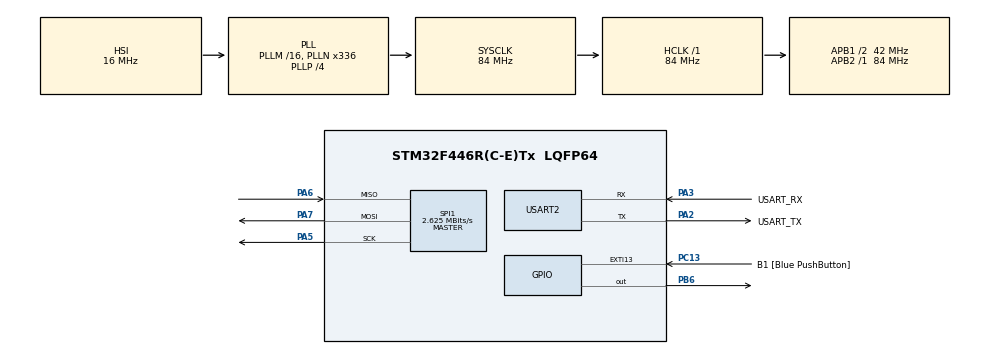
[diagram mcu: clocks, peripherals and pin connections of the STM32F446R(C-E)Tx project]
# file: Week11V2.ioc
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Mcu.Family=STM32F4
Mcu.Name=STM32F446R(C-E)Tx
Mcu.Package=LQFP64
NVIC.PriorityGroup=NVIC_PRIORITYGROUP_0
PA13.GPIO_Label=TMS
PA13.Mode=Serial_Wire
PA13.Signal=SYS_JTMS-SWDIO
PA14.GPIO_Label=TCK
PA14.Mode=Serial_Wire
PA14.Signal=SYS_JTCK-SWCLK
PA2.GPIO_Label=USART_TX
PA2.Mode=Asynchronous
PA2.Signal=USART2_TX
PA3.GPIO_Label=USART_RX
PA3.Mode=Asynchronous
PA3.Signal=USART2_RX
PA5.Mode=Full_Duplex_Master
PA5.Signal=SPI1_SCK
PA6.Mode=Full_Duplex_Master
PA6.Signal=SPI1_MISO
PA7.Mode=Full_Duplex_Master
PA7.Signal=SPI1_MOSI
PB3.GPIO_Label=SWO
PB3.Signal=SYS_JTDO-SWO
PB6.Signal=GPIO_Output
PC13.GPIO_Label=B1 [Blue PushButton]
PC13.GPIO_ModeDefaultEXTI=GPIO_MODE_IT_FALLING
PC13.Signal=GPXTI13
PC14-OSC32_IN.Mode=LSE-External-Oscillator
PC14-OSC32_IN.Signal=RCC_OSC32_IN
PC15-OSC32_OUT.Mode=LSE-External-Oscillator
PC15-OSC32_OUT.Signal=RCC_OSC32_OUT
PH0-OSC_IN.Mode=HSE-External-Oscillator
PH0-OSC_IN.Signal=RCC_OSC_IN
PH1-OSC_OUT.Mode=HSE-External-Oscillator
PH1-OSC_OUT.Signal=RCC_OSC_OUT
ProjectManager.HeapSize=0x200
ProjectManager.StackSize=0x400
ProjectManager.TargetToolchain=STM32CubeIDE
RCC.48MHZClocksFreq_Value=84000000
RCC.AHBFreq_Value=84000000
RCC.APB1CLKDivider=RCC_HCLK_DIV2
RCC.APB1Freq_Value=42000000
RCC.APB1TimFreq_Value=84000000
RCC.APB2Freq_Value=84000000
RCC.APB2TimFreq_Value=84000000
RCC.CortexFreq_Value=84000000
RCC.FLatency-AdvancedSettings=FLASH_LATENCY_2
RCC.HCLKFreq_Value=84000000
RCC.HSE_VALUE=8000000
RCC.HSI_VALUE=16000000
RCC.PLLN=336
RCC.PLLP=RCC_PLLP_DIV4
RCC.SYSCLKFreq_VALUE=84000000
RCC.SYSCLKSource=RCC_SYSCLKSOURCE_PLLCLK
RCC.USBFreq_Value=168000000
RCC.VCOOutputFreq_Value=336000000
SPI1.BaudRatePrescaler=SPI_BAUDRATEPRESCALER_32
SPI1.CalculateBaudRate=2.625 MBits/s
SPI1.Direction=SPI_DIRECTION_2LINES
SPI1.Mode=SPI_MODE_MASTER
SPI1.VirtualType=VM_MASTER
TIM2.AutoReloadPreload=TIM_AUTORELOAD_PRELOAD_DISABLE
TIM2.Prescaler=32
USART2.VirtualMode=VM_ASYNC
VP_TIM2_VS_ClockSourceINT.Mode=Internal
board=NUCLEO-F446RE

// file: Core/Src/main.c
/* USER CODE BEGIN Header */
/**
  ******************************************************************************
  * @file           : main.c
  * @brief          : Main program body
  ******************************************************************************
  * @attention
  *
  * Copyright (c) 2023 STMicroelectronics.
  * All rights reserved.
  *
  * This software is licensed under terms that can be found in the LICENSE file
  * in the root directory of this software component.
  * If no LICENSE file comes with this software, it is provided AS-IS.
  *
  ******************************************************************************
  */
/* USER CODE END Header */
#include "main.h"
#include "stdio.h"

SPI_HandleTypeDef hspi1;

TIM_HandleTypeDef htim2;

UART_HandleTypeDef huart2;

void SystemClock_Config(void);
static void MX_GPIO_Init(void);
static void MX_USART2_UART_Init(void);
static void MX_SPI1_Init(void);
static void MX_TIM2_Init(void);

/* USER CODE BEGIN 0 */

  //Variables
  char uart_buf[50];
  int uart_buf_len;
  char spi_buf[20];
  uint8_t addr;
  uint8_t wip;

  //25AA010A instructions, note: these are variables
  const uint8_t EEPROM_READ = 0b00000011;   // 0x03
  const uint8_t EEPROM_WRITE = 0b00000010;  // 0x02
  const uint8_t EEPROM_WRDI = 0b00000100;   // 0x04
  const uint8_t EEPROM_WREN = 0b00000110;   // 0x06
  const uint8_t EEPROM_RDSR = 0b00000101;   // 0x05
  const uint8_t EEPROM_WRSR = 0b00000001;   // 0x01

  //NSS active

/* USER CODE END 0 */

int main(void)
{

  /* MCU Configuration--------------------------------------------------------*/

  /* Reset of all peripherals, Initializes the Flash interface and the Systick. */
  HAL_Init();

  /* Configure the system clock */
  SystemClock_Config();

  /* Initialize all configured peripherals */
  MX_GPIO_Init();
  MX_USART2_UART_Init();
  MX_SPI1_Init();
  MX_TIM2_Init();
  //Write enable
//  HAL_GPIO_WritePin(GPIOB, GPIO_PIN_6, GPIO_PIN_RESET);
//  HAL_SPI_Transmit(&hspi1, (uint8_t *) &EEPROM_WREN, 1, HAL_MAX_DELAY);
//  HAL_GPIO_WritePin(GPIOB, GPIO_PIN_6, GPIO_PIN_SET);
//
//  HAL_GPIO_WritePin(GPIOB, GPIO_PIN_6, GPIO_PIN_RESET);
//     HAL_SPI_Transmit(&hspi1, (uint8_t *) &EEPROM_WRITE, 1, HAL_MAX_DELAY);
//     HAL_SPI_Transmit(&hspi1, (uint8_t *) &addr, 1, HAL_MAX_DELAY);
//     HAL_SPI_Transmit(&hspi1, (uint8_t *) spi_buf, 3, HAL_MAX_DELAY);
//     HAL_GPIO_WritePin(GPIOB, GPIO_PIN_6, GPIO_PIN_SET);

  /* Infinite loop */
  /* USER CODE BEGIN WHILE */
 	  int i =0;

 	 spi_buf[0] = 0xAB;
 	      spi_buf[1] = 0xCD;
 	      spi_buf[2] = 0xEF;

 	      addr = 0x00;

 	      HAL_GPIO_WritePin(GPIOB, GPIO_PIN_6, GPIO_PIN_RESET);
 	         HAL_SPI_Transmit(&hspi1, (uint8_t *) &EEPROM_WRITE, 1, HAL_MAX_DELAY);
 	         HAL_SPI_Transmit(&hspi1, (uint8_t *) &addr, 1, HAL_MAX_DELAY);
 	         HAL_SPI_Transmit(&hspi1, (uint8_t *) spi_buf, 3, HAL_MAX_DELAY);
 	         HAL_GPIO_WritePin(GPIOB, GPIO_PIN_6, GPIO_PIN_SET);

 	        wip = 1;
 	           while (wip)
 	           {
 	             // Read status register
 	             HAL_GPIO_WritePin(GPIOB, GPIO_PIN_6, GPIO_PIN_RESET);
 	             HAL_SPI_Transmit(&hspi1, (uint8_t *) &EEPROM_RDSR, 1, HAL_MAX_DELAY);
 	             HAL_SPI_Receive(&hspi1, (uint8_t *) spi_buf, 1, HAL_MAX_DELAY);
 	             HAL_GPIO_WritePin(GPIOB, GPIO_PIN_6, GPIO_PIN_SET);

 	             // Mask out WIP bit
 	             wip = spi_buf[0] & 0b00000001;
 	           }

 	          HAL_GPIO_WritePin(GPIOB, GPIO_PIN_6, GPIO_PIN_RESET);
 	             HAL_SPI_Transmit(&hspi1, (uint8_t *) &EEPROM_READ, 1, HAL_MAX_DELAY);
 	             HAL_SPI_Transmit(&hspi1, (uint8_t *) &addr, 1, HAL_MAX_DELAY);
 	             HAL_SPI_Receive(&hspi1, (uint8_t *) spi_buf, 3, HAL_MAX_DELAY);
 	             HAL_GPIO_WritePin(GPIOB, GPIO_PIN_6, GPIO_PIN_SET);

 	            for(int j=0; j<3; j++){
 	             	  	  uart_buf_len = sprintf(uart_buf, "ADDR: 0x%02x  Buffr: 0x%02x\r\n",j , (unsigned int) spi_buf[j]);
 	             	  	  HAL_UART_Transmit(&huart2, (uint8_t *) uart_buf, uart_buf_len, HAL_MAX_DELAY);
 	             	  	  }
  while (1)
  {
    /* USER CODE END WHILE */
	  //Lezen

	  //Printen

	  i++;
	  if(i==16){i=0;}
  }
}

void SystemClock_Config(void)
{
  RCC_OscInitTypeDef RCC_OscInitStruct = {0};
  RCC_ClkInitTypeDef RCC_ClkInitStruct = {0};

  /** Configure the main internal regulator output voltage
  */
  __HAL_RCC_PWR_CLK_ENABLE();
  __HAL_PWR_VOLTAGESCALING_CONFIG(PWR_REGULATOR_VOLTAGE_SCALE3);

  /** Initializes the RCC Oscillators according to the specified parameters
  * in the RCC_OscInitTypeDef structure.
  */
  RCC_OscInitStruct.OscillatorType = RCC_OSCILLATORTYPE_HSI;
  RCC_OscInitStruct.HSIState = RCC_HSI_ON;
  RCC_OscInitStruct.HSICalibrationValue = RCC_HSICALIBRATION_DEFAULT;
  RCC_OscInitStruct.PLL.PLLState = RCC_PLL_ON;
  RCC_OscInitStruct.PLL.PLLSource = RCC_PLLSOURCE_HSI;
  RCC_OscInitStruct.PLL.PLLM = 16;
  RCC_OscInitStruct.PLL.PLLN = 336;
  RCC_OscInitStruct.PLL.PLLP = RCC_PLLP_DIV4;
  RCC_OscInitStruct.PLL.PLLQ = 2;
  RCC_OscInitStruct.PLL.PLLR = 2;
  if (HAL_RCC_OscConfig(&RCC_OscInitStruct) != HAL_OK)
  {
    Error_Handler();
  }

  /** Initializes the CPU, AHB and APB buses clocks
  */
  RCC_ClkInitStruct.ClockType = RCC_CLOCKTYPE_HCLK|RCC_CLOCKTYPE_SYSCLK
                              |RCC_CLOCKTYPE_PCLK1|RCC_CLOCKTYPE_PCLK2;
  RCC_ClkInitStruct.SYSCLKSource = RCC_SYSCLKSOURCE_PLLCLK;
  RCC_ClkInitStruct.AHBCLKDivider = RCC_SYSCLK_DIV1;
  RCC_ClkInitStruct.APB1CLKDivider = RCC_HCLK_DIV2;
  RCC_ClkInitStruct.APB2CLKDivider = RCC_HCLK_DIV1;

  if (HAL_RCC_ClockConfig(&RCC_ClkInitStruct, FLASH_LATENCY_2) != HAL_OK)
  {
    Error_Handler();
  }
}

static void MX_SPI1_Init(void)
{

  /* SPI1 parameter configuration*/
  hspi1.Instance = SPI1;
  hspi1.Init.Mode = SPI_MODE_MASTER;
  hspi1.Init.Direction = SPI_DIRECTION_2LINES;
  hspi1.Init.DataSize = SPI_DATASIZE_8BIT;
  hspi1.Init.CLKPolarity = SPI_POLARITY_LOW;
  hspi1.Init.CLKPhase = SPI_PHASE_1EDGE;
  hspi1.Init.NSS = SPI_NSS_SOFT;
  hspi1.Init.BaudRatePrescaler = SPI_BAUDRATEPRESCALER_32;
  hspi1.Init.FirstBit = SPI_FIRSTBIT_MSB;
  hspi1.Init.TIMode = SPI_TIMODE_DISABLE;
  hspi1.Init.CRCCalculation = SPI_CRCCALCULATION_DISABLE;
  hspi1.Init.CRCPolynomial = 10;
  if (HAL_SPI_Init(&hspi1) != HAL_OK)
  {
    Error_Handler();
  }

}

static void MX_TIM2_Init(void)
{

  TIM_ClockConfigTypeDef sClockSourceConfig = {0};
  TIM_MasterConfigTypeDef sMasterConfig = {0};

  htim2.Instance = TIM2;
  htim2.Init.Prescaler = 32;
  htim2.Init.CounterMode = TIM_COUNTERMODE_UP;
  htim2.Init.Period = 4294967295;
  htim2.Init.ClockDivision = TIM_CLOCKDIVISION_DIV1;
  htim2.Init.AutoReloadPreload = TIM_AUTORELOAD_PRELOAD_DISABLE;
  if (HAL_TIM_Base_Init(&htim2) != HAL_OK)
  {
    Error_Handler();
  }
  sClockSourceConfig.ClockSource = TIM_CLOCKSOURCE_INTERNAL;
  if (HAL_TIM_ConfigClockSource(&htim2, &sClockSourceConfig) != HAL_OK)
  {
    Error_Handler();
  }
  sMasterConfig.MasterOutputTrigger = TIM_TRGO_RESET;
  sMasterConfig.MasterSlaveMode = TIM_MASTERSLAVEMODE_DISABLE;
  if (HAL_TIMEx_MasterConfigSynchronization(&htim2, &sMasterConfig) != HAL_OK)
  {
    Error_Handler();
  }

}

static void MX_USART2_UART_Init(void)
{

  huart2.Instance = USART2;
  huart2.Init.BaudRate = 115200;
  huart2.Init.WordLength = UART_WORDLENGTH_8B;
  huart2.Init.StopBits = UART_STOPBITS_1;
  huart2.Init.Parity = UART_PARITY_NONE;
  huart2.Init.Mode = UART_MODE_TX_RX;
  huart2.Init.HwFlowCtl = UART_HWCONTROL_NONE;
  huart2.Init.OverSampling = UART_OVERSAMPLING_16;
  if (HAL_UART_Init(&huart2) != HAL_OK)
  {
    Error_Handler();
  }

}

static void MX_GPIO_Init(void)
{
  GPIO_InitTypeDef GPIO_InitStruct = {0};

  /* GPIO Ports Clock Enable */
  __HAL_RCC_GPIOC_CLK_ENABLE();
  __HAL_RCC_GPIOH_CLK_ENABLE();
  __HAL_RCC_GPIOA_CLK_ENABLE();
  __HAL_RCC_GPIOB_CLK_ENABLE();

  /*Configure GPIO pin Output Level */
  HAL_GPIO_WritePin(GPIOB, GPIO_PIN_6, GPIO_PIN_RESET);

  /*Configure GPIO pin : B1_Pin */
  GPIO_InitStruct.Pin = B1_Pin;
  GPIO_InitStruct.Mode = GPIO_MODE_IT_FALLING;
  GPIO_InitStruct.Pull = GPIO_NOPULL;
  HAL_GPIO_Init(B1_GPIO_Port, &GPIO_InitStruct);

  /*Configure GPIO pin : PB6 */
  GPIO_InitStruct.Pin = GPIO_PIN_6;
  GPIO_InitStruct.Mode = GPIO_MODE_OUTPUT_PP;
  GPIO_InitStruct.Pull = GPIO_NOPULL;
  GPIO_InitStruct.Speed = GPIO_SPEED_FREQ_LOW;
  HAL_GPIO_Init(GPIOB, &GPIO_InitStruct);

}

void Error_Handler(void)
{
  __disable_irq();
  while (1)
  {
  }
}
